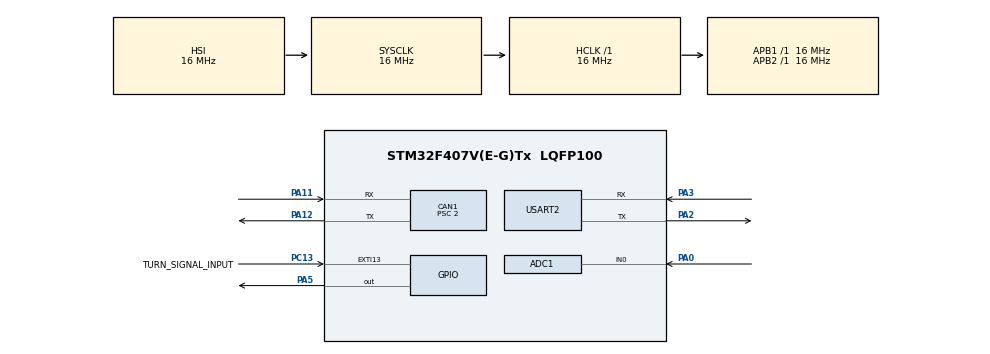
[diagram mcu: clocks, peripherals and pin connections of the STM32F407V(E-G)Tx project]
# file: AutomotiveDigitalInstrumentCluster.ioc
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ADC1.Channel-1\#ChannelRegularConversion=ADC_CHANNEL_0
ADC1.NbrOfConversionFlag=1
ADC1.Rank-1\#ChannelRegularConversion=1
ADC1.SamplingTime-1\#ChannelRegularConversion=ADC_SAMPLETIME_3CYCLES
ADC1.master=1
CAN1.BS1=CAN_BS1_13TQ
CAN1.BS2=CAN_BS2_2TQ
CAN1.CalculateBaudRate=500000
CAN1.CalculateTimeBit=2000
CAN1.CalculateTimeQuantum=125.0
CAN1.Prescaler=2
Mcu.Family=STM32F4
Mcu.Name=STM32F407V(E-G)Tx
Mcu.Package=LQFP100
NVIC.CAN1_RX0_IRQn=true\:0\:0\:false\:false\:true\:true\:true\:true
NVIC.EXTI15_10_IRQn=true\:0\:0\:false\:false\:true\:true\:true\:true
NVIC.PriorityGroup=NVIC_PRIORITYGROUP_4
PA0-WKUP.Signal=ADCx_IN0
PA11.Mode=CAN_Activate
PA11.Signal=CAN1_RX
PA12.Mode=CAN_Activate
PA12.Signal=CAN1_TX
PA2.Mode=Asynchronous
PA2.Signal=USART2_TX
PA3.Mode=Asynchronous
PA3.Signal=USART2_RX
PA5.Signal=GPIO_Output
PC13-ANTI_TAMP.GPIO_Label=TURN_SIGNAL_INPUT
PC13-ANTI_TAMP.GPIO_ModeDefaultEXTI=GPIO_MODE_IT_FALLING
PC13-ANTI_TAMP.GPIO_PuPd=GPIO_PULLUP
PC13-ANTI_TAMP.Signal=GPXTI13
ProjectManager.HeapSize=0x200
ProjectManager.StackSize=0x400
ProjectManager.TargetToolchain=STM32CubeIDE
RCC.AHBFreq_Value=16000000
RCC.APB1Freq_Value=16000000
RCC.APB2Freq_Value=16000000
RCC.CortexFreq_Value=16000000
RCC.HSE_VALUE=25000000
RCC.HSI_VALUE=16000000
RCC.LSE_VALUE=32768
RCC.SYSCLKFreq_VALUE=16000000
RCC.VCOOutputFreq_Value=192000000
SH.ADCx_IN0.0=ADC1_IN0,IN0
USART2.VirtualMode=VM_ASYNC
board=custom

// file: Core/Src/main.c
/* USER CODE BEGIN Header */
/**
  ******************************************************************************
  * @file           : main.c
  * @brief          : Main program body
  ******************************************************************************
  * @attention
  *
  * Copyright (c) 2026 STMicroelectronics.
  * All rights reserved.
  *
  * This software is licensed under terms that can be found in the LICENSE file
  * in the root directory of this software component.
  * If no LICENSE file comes with this software, it is provided AS-IS.
  *
  ******************************************************************************
  */
/* USER CODE END Header */
#include "main.h"

/* USER CODE BEGIN Includes */
#include "vehicle_state.h"
#include "cluster_comm.h"
#include "sensor_manager.h"
#include "input_manager.h"
#include "can_manager.h"
/* USER CODE END Includes */

ADC_HandleTypeDef hadc1;

CAN_HandleTypeDef hcan1;

UART_HandleTypeDef huart2;

/* USER CODE BEGIN PV */
//uint32_t lastVehicleUpdate = 0;
uint32_t lastCommUpdate = 0;
/* USER CODE END PV */

void SystemClock_Config(void);
static void MX_GPIO_Init(void);
static void MX_USART2_UART_Init(void);
static void MX_ADC1_Init(void);
static void MX_CAN1_Init(void);

int main(void)
{

  /* MCU Configuration--------------------------------------------------------*/

  /* Reset of all peripherals, Initializes the Flash interface and the Systick. */
  HAL_Init();

  /* Configure the system clock */
  SystemClock_Config();

  /* Initialize all configured peripherals */
  MX_GPIO_Init();
  MX_USART2_UART_Init();
  MX_ADC1_Init();
  MX_CAN1_Init();
  /* USER CODE BEGIN 2 */
  VehicleState_Init();
  ClusterComm_Init();
  SensorManager_Init();
  InputManager_Init();
  CanManager_Init();
  /* USER CODE END 2 */

  /* Infinite loop */
  while (1)
  {

    /* USER CODE BEGIN 3 */
//	  HAL_GPIO_WritePin(GPIOA, GPIO_PIN_5, GPIO_PIN_SET);
//	  HAL_Delay(500);
//
//	  HAL_GPIO_WritePin(GPIOA, GPIO_PIN_5, GPIO_PIN_RESET);
//	  HAL_Delay(500);

	  CanManager_Process();

	  uint32_t now = HAL_GetTick();

//	  GPIO_PinState turnSignalInput;
//
//	  turnSignalInput = HAL_GPIO_ReadPin(
//	      TURN_SIGNAL_INPUT_GPIO_Port,
//	      TURN_SIGNAL_INPUT_Pin
//	  );
//
//	  if (turnSignalInput == GPIO_PIN_RESET)
//	  {
//	      HAL_GPIO_WritePin(GPIOA, GPIO_PIN_5, GPIO_PIN_SET);
//	  }
//	  else
//	  {
//	      HAL_GPIO_WritePin(GPIOA, GPIO_PIN_5, GPIO_PIN_RESET);
//	  }

	  if (InputManager_IsTurnSignalEvent())
	  {
	      InputManager_ClearTurnSignalEvent();

	      HAL_GPIO_TogglePin(GPIOA, GPIO_PIN_5);
	  }

//	  if (now - lastVehicleUpdate >= 100)
//	  {
//	      lastVehicleUpdate = now;
//
//	      VehicleState_Update();
//
//	      VehicleState_SetTemperature(
//	              SensorManager_ReadTemperature()
//	          );
//	  }

	  if (now - lastCommUpdate >= 200)
	  {
	      lastCommUpdate = now;

	      ClusterComm_SendState(VehicleState_Get());
	  }
  }
  /* USER CODE END 3 */
}

void SystemClock_Config(void)
{
  RCC_OscInitTypeDef RCC_OscInitStruct = {0};
  RCC_ClkInitTypeDef RCC_ClkInitStruct = {0};

  /** Configure the main internal regulator output voltage
  */
  __HAL_RCC_PWR_CLK_ENABLE();
  __HAL_PWR_VOLTAGESCALING_CONFIG(PWR_REGULATOR_VOLTAGE_SCALE1);

  /** Initializes the RCC Oscillators according to the specified parameters
  * in the RCC_OscInitTypeDef structure.
  */
  RCC_OscInitStruct.OscillatorType = RCC_OSCILLATORTYPE_HSI;
  RCC_OscInitStruct.HSIState = RCC_HSI_ON;
  RCC_OscInitStruct.HSICalibrationValue = RCC_HSICALIBRATION_DEFAULT;
  RCC_OscInitStruct.PLL.PLLState = RCC_PLL_NONE;
  if (HAL_RCC_OscConfig(&RCC_OscInitStruct) != HAL_OK)
  {
    Error_Handler();
  }

  /** Initializes the CPU, AHB and APB buses clocks
  */
  RCC_ClkInitStruct.ClockType = RCC_CLOCKTYPE_HCLK|RCC_CLOCKTYPE_SYSCLK
                              |RCC_CLOCKTYPE_PCLK1|RCC_CLOCKTYPE_PCLK2;
  RCC_ClkInitStruct.SYSCLKSource = RCC_SYSCLKSOURCE_HSI;
  RCC_ClkInitStruct.AHBCLKDivider = RCC_SYSCLK_DIV1;
  RCC_ClkInitStruct.APB1CLKDivider = RCC_HCLK_DIV1;
  RCC_ClkInitStruct.APB2CLKDivider = RCC_HCLK_DIV1;

  if (HAL_RCC_ClockConfig(&RCC_ClkInitStruct, FLASH_LATENCY_0) != HAL_OK)
  {
    Error_Handler();
  }
}

static void MX_ADC1_Init(void)
{

  ADC_ChannelConfTypeDef sConfig = {0};

  /** Configure the global features of the ADC (Clock, Resolution, Data Alignment and number of conversion)
  */
  hadc1.Instance = ADC1;
  hadc1.Init.ClockPrescaler = ADC_CLOCK_SYNC_PCLK_DIV2;
  hadc1.Init.Resolution = ADC_RESOLUTION_12B;
  hadc1.Init.ScanConvMode = DISABLE;
  hadc1.Init.ContinuousConvMode = DISABLE;
  hadc1.Init.DiscontinuousConvMode = DISABLE;
  hadc1.Init.ExternalTrigConvEdge = ADC_EXTERNALTRIGCONVEDGE_NONE;
  hadc1.Init.ExternalTrigConv = ADC_SOFTWARE_START;
  hadc1.Init.DataAlign = ADC_DATAALIGN_RIGHT;
  hadc1.Init.NbrOfConversion = 1;
  hadc1.Init.DMAContinuousRequests = DISABLE;
  hadc1.Init.EOCSelection = ADC_EOC_SINGLE_CONV;
  if (HAL_ADC_Init(&hadc1) != HAL_OK)
  {
    Error_Handler();
  }

  /** Configure for the selected ADC regular channel its corresponding rank in the sequencer and its sample time.
  */
  sConfig.Channel = ADC_CHANNEL_0;
  sConfig.Rank = 1;
  sConfig.SamplingTime = ADC_SAMPLETIME_3CYCLES;
  if (HAL_ADC_ConfigChannel(&hadc1, &sConfig) != HAL_OK)
  {
    Error_Handler();
  }

}

static void MX_CAN1_Init(void)
{

  hcan1.Instance = CAN1;
  hcan1.Init.Prescaler = 2;
  hcan1.Init.Mode = CAN_MODE_NORMAL;
  hcan1.Init.SyncJumpWidth = CAN_SJW_1TQ;
  hcan1.Init.TimeSeg1 = CAN_BS1_13TQ;
  hcan1.Init.TimeSeg2 = CAN_BS2_2TQ;
  hcan1.Init.TimeTriggeredMode = DISABLE;
  hcan1.Init.AutoBusOff = DISABLE;
  hcan1.Init.AutoWakeUp = DISABLE;
  hcan1.Init.AutoRetransmission = DISABLE;
  hcan1.Init.ReceiveFifoLocked = DISABLE;
  hcan1.Init.TransmitFifoPriority = DISABLE;
  if (HAL_CAN_Init(&hcan1) != HAL_OK)
  {
    Error_Handler();
  }

}

static void MX_USART2_UART_Init(void)
{

  huart2.Instance = USART2;
  huart2.Init.BaudRate = 115200;
  huart2.Init.WordLength = UART_WORDLENGTH_8B;
  huart2.Init.StopBits = UART_STOPBITS_1;
  huart2.Init.Parity = UART_PARITY_NONE;
  huart2.Init.Mode = UART_MODE_TX_RX;
  huart2.Init.HwFlowCtl = UART_HWCONTROL_NONE;
  huart2.Init.OverSampling = UART_OVERSAMPLING_16;
  if (HAL_UART_Init(&huart2) != HAL_OK)
  {
    Error_Handler();
  }

}

static void MX_GPIO_Init(void)
{
  GPIO_InitTypeDef GPIO_InitStruct = {0};

  /* GPIO Ports Clock Enable */
  __HAL_RCC_GPIOC_CLK_ENABLE();
  __HAL_RCC_GPIOA_CLK_ENABLE();

  /*Configure GPIO pin Output Level */
  HAL_GPIO_WritePin(GPIOA, GPIO_PIN_5, GPIO_PIN_RESET);

  /*Configure GPIO pin : TURN_SIGNAL_INPUT_Pin */
  GPIO_InitStruct.Pin = TURN_SIGNAL_INPUT_Pin;
  GPIO_InitStruct.Mode = GPIO_MODE_IT_FALLING;
  GPIO_InitStruct.Pull = GPIO_PULLUP;
  HAL_GPIO_Init(TURN_SIGNAL_INPUT_GPIO_Port, &GPIO_InitStruct);

  /*Configure GPIO pin : PA5 */
  GPIO_InitStruct.Pin = GPIO_PIN_5;
  GPIO_InitStruct.Mode = GPIO_MODE_OUTPUT_PP;
  GPIO_InitStruct.Pull = GPIO_NOPULL;
  GPIO_InitStruct.Speed = GPIO_SPEED_FREQ_LOW;
  HAL_GPIO_Init(GPIOA, &GPIO_InitStruct);

  /* EXTI interrupt init*/
  HAL_NVIC_SetPriority(EXTI15_10_IRQn, 0, 0);
  HAL_NVIC_EnableIRQ(EXTI15_10_IRQn);

}

void Error_Handler(void)
{
  __disable_irq();
  while (1)
  {
  }
}
